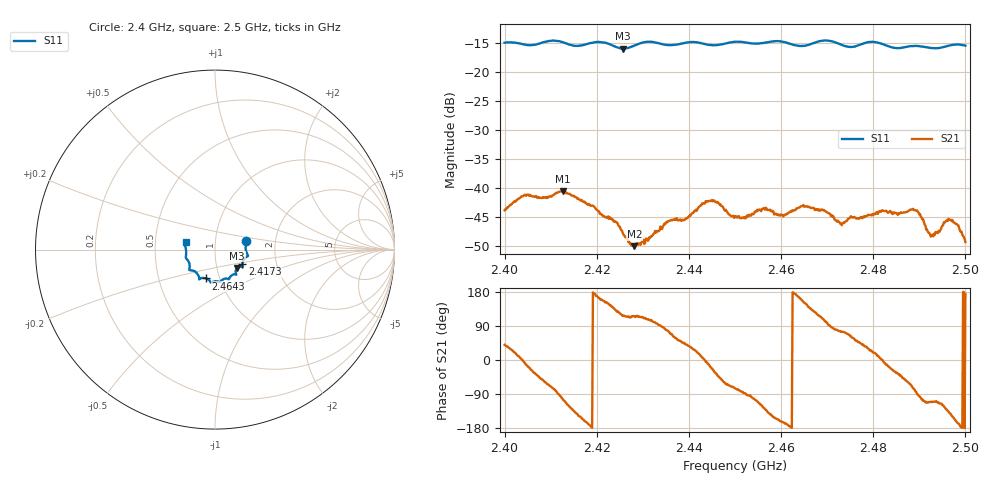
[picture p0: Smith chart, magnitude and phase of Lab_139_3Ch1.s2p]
# Hz S RI R 50
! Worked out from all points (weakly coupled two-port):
!   601 points, 2.4 GHz to 2.5 GHz, reference 50 ohm
!   highest |S21| = -40.53 dB at 2.4127 GHz (marker M1); lowest = -50.1 dB at 2.4282 GHz (marker M2)
!   lowest |S11| = -15.9 dB at 2.4257 GHz (marker M3), VSWR 1.38, Z = 62.5 - j13.1 ohm
!   |S11| at or under -10 dB: start of sweep to end of sweep
!   S12 and S22 are empty: the file has one direction only
!   S11 on the Smith chart (normalised r, x): 2.4 GHz: 1.41, +0.14; 2.4173 GHz: 1.34, -0.23; 2.4643 GHz: 0.86, -0.28; 2.5 GHz: 0.72, +0.06
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2.4e9  0.173 0.0487  0.00491 0.00412  0 0  0 0
2.404e9  0.1724 0.0256  0.00847 -0.000337  0 0  0 0
2.412667e9  0.177 -0.0399  -0.00235 -0.00911  0 0  0 0
2.416667e9  0.1528 -0.075  -0.00699 -0.00363  0 0  0 0
2.417333e9  0.1517 -0.0824  -0.00719 -0.00249  0 0  0 0
2.424e9  0.1366 -0.0944  -0.00348 0.0038  0 0  0 0
2.425667e9  0.1229 -0.1019  -0.00179 0.00363  0 0  0 0
2.428167e9  0.1149 -0.1249  -0.00134 0.00284  0 0  0 0
2.433333e9  0.1128 -0.1374  -0.000229 0.0042  0 0  0 0
2.439333e9  0.0793 -0.161  0.00411 0.00357  0 0  0 0
2.444167e9  0.062 -0.1609  0.00749 -0.00138  0 0  0 0
2.45e9  0.0289 -0.1809  0.00149 -0.00548  0 0  0 0
2.456333e9  -0.00898 -0.1788  -0.00404 -0.00535  0 0  0 0
2.460667e9  -0.026 -0.1803  -0.00567 -0.00144  0 0  0 0
2.464333e9  -0.0503 -0.1606  -0.00652 0.00239  0 0  0 0
2.466667e9  -0.0762 -0.1588  -0.00453 0.00497  0 0  0 0
2.473167e9  -0.092 -0.1452  0.0013 0.00458  0 0  0 0
2.483333e9  -0.1409 -0.0898  0.00585 -0.00184  0 0  0 0
2.489167e9  -0.1626 -0.0444  0.00082 -0.00636  0 0  0 0
2.492833e9  -0.1603 -0.0162  -0.00138 -0.0037  0 0  0 0
2.496833e9  -0.1691 0.0256  -0.00422 -0.00322  0 0  0 0
2.5e9  -0.164 0.0425  -0.00339 0.000335  0 0  0 0
